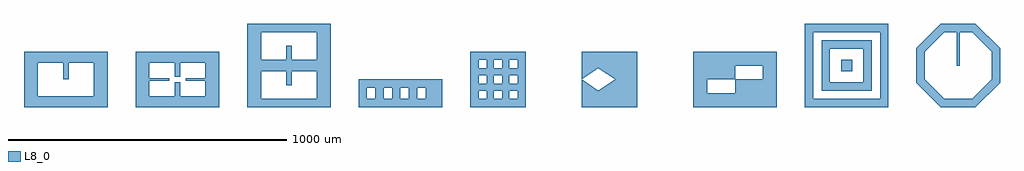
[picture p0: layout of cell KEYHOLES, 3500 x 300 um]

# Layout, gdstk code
import gdstk
lib = gdstk.Library(unit=1e-6, precision=1e-09)
def R(c, l, rs):  # rectangles x0, y0, x1, y1
    for r in rs: c.add(gdstk.rectangle(r[:2], r[2:], *l))
def P(c, l, *ps):  # polygons
    for p in ps: c.add(gdstk.Polygon(p, *l))
L8_0 = (8, 0)

keyholes = lib.new_cell('KEYHOLES')
R(keyholes, L8_0, [(2930,130,2970,170)])
P(keyholes, L8_0, [(0,0),(0,160),(160,160),(160,100),(140,100),(140,160),(50,160),(50,40),(250,40),(250,160),(0,160),(0,200),(300,200),(300,0)],
  [(400,0),(400,160),(560,160),(560,110),(540,110),(540,160),(450,160),(450,105),(520,105),(520,95),(450,95),(450,40),(540,40),(540,90),(560,90),(560,40),(650,40),(650,95),(580,95),(580,105),(650,105),(650,160),(400,160),(400,200),(700,200),(700,0)],
  [(800,0),(800,130),(960,130),(960,80),(940,80),(940,130),(850,130),(850,30),(1050,30),(1050,130),(800,130),(800,270),(850,270),(850,170),(940,170),(940,220),(960,220),(960,170),(1050,170),(1050,270),(800,270),(800,300),(1100,300),(1100,0)],
  [(1200,0),(1200,70),(1230,70),(1230,30),(1260,30),(1260,70),(1290,70),(1290,30),(1320,30),(1320,70),(1350,70),(1350,30),(1380,30),(1380,70),(1410,70),(1410,30),(1440,30),(1440,70),(1200,70),(1200,100),(1500,100),(1500,0)],
  [(1600,0),(1600,60),(1630,60),(1630,30),(1660,30),(1660,60),(1685,60),(1685,30),(1715,30),(1715,60),(1740,60),(1740,30),(1770,30),(1770,60),(1600,60),(1600,115),(1630,115),(1630,85),(1660,85),(1660,115),(1685,115),(1685,85),(1715,85),(1715,115),(1740,115),(1740,85),(1770,85),(1770,115),(1600,115),(1600,170),(1630,170),(1630,140),(1660,140),(1660,170),(1685,170),(1685,140),(1715,140),(1715,170),(1740,170),(1740,140),(1770,140),(1770,170),(1600,170),(1600,200),(1800,200),(1800,0)],
  [(2000,0),(2000,140),(2060,140),(2000,100),(2060,60),(2120,100),(2060,140),(2000,140),(2000,200),(2200,200),(2200,0)],
  [(2400,0),(2400,100),(2450,100),(2450,50),(2550,50),(2550,100),(2400,100),(2400,150),(2550,150),(2550,100),(2650,100),(2650,150),(2400,150),(2400,200),(2700,200),(2700,0)],
  [(2860,60),(2860,210),(2890,210),(2890,90),(3010,90),(3010,210),(2860,210),(2860,240),(3040,240),(3040,60)],
  [(2800,0),(2800,270),(2830,270),(2830,30),(3070,30),(3070,270),(2800,270),(2800,300),(3100,300),(3100,0)],
  [(3287.868,0),(3200,87.868),(3200,212.132),(3257.868,270),(3355,270),(3355,150),(3345,150),(3345,270),(3300.294,270),(3230,199.706),(3230,100.294),(3300.294,30),(3399.706,30),(3470,100.294),(3470,199.706),(3399.706,270),(3257.868,270),(3287.868,300),(3412.132,300),(3500,212.132),(3500,87.868),(3412.132,0)])

lib.write_gds('KEYHOLES.gds')
